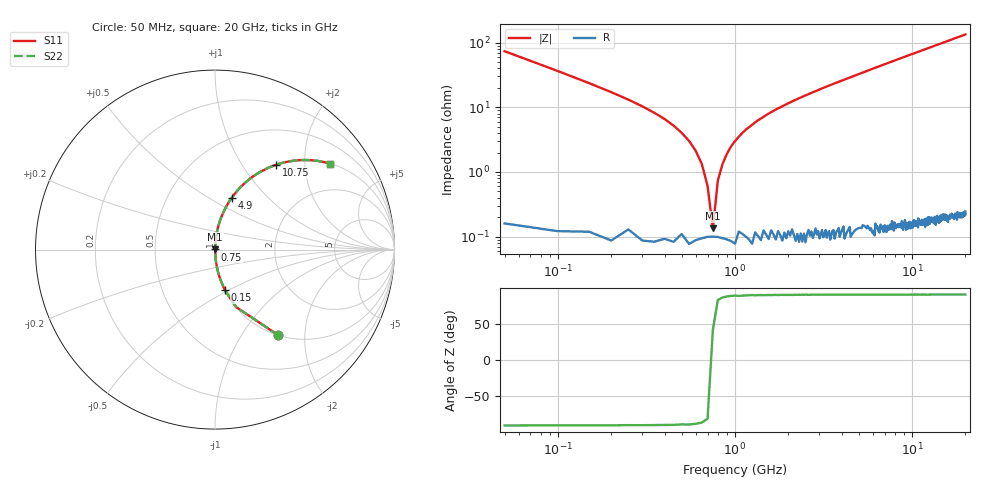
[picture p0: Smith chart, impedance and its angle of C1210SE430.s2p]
! AVX Thin Film Operation		Date: April 2012
! Description: Accu-P® Series, Thin Film, SMD, RF Capacitor
! Part Number: 12101J430FBTTR
!	50	MHz	-	20.05	GHz
!	Serial	Measurements
#	MHZ	S	MA	R	50
!	S11	S21	S12	S22
!	dB	Phase	dB	Phase	dB	Phase	dB	Phase
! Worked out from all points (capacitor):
!   400 points, 50 MHz to 20 GHz, reference 50 ohm
!   read as one part in series: C = 43 pF near 150 MHz
!   lowest |Z| = 134 mohm at 750 MHz (marker M1)
!   series resonance near 743.5 MHz, so ESL is about 1.1 nH
!   S11 on the Smith chart (normalised r, x): 50 MHz: 1.00, -1.47; 150 MHz: 1.00, -0.47; 750 MHz: 1.00, +0.00; 4.9 GHz: 1.00, +0.64; 10.75 GHz: 1.00, +1.43; 20 GHz: 1.01, +2.67
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50  0.593 -53.5  0.804 36.3  0.804 36.3  0.593 -53.5
100  0.341 -69.8  0.939 19.9  0.939 19.9  0.341 -69.8
150  0.23 -76.4  0.972 13.3  0.972 13.3  0.23 -76.4
300  0.103 -83.5  0.994 5.9  0.994 5.9  0.103 -83.5
600  0.021 -86.1  0.999 1.2  0.999 1.2  0.021 -86.1
650  0.013 -85.0  0.999 0.8  0.999 0.8  0.013 -85.0
700  0.006064 -80.2  0.999 0.3  0.999 0.3  0.006064 -80.2
750  0.001337 41.5  0.999 -0.1  0.999 -0.1  0.001337 41.5
800  0.007382 81.8  0.999 -0.4  0.999 -0.4  0.007382 81.8
850  0.013 85.0  0.999 -0.8  0.999 -0.8  0.013 85.0
950  0.025 86.3  0.999 -1.4  0.999 -1.4  0.025 86.3
1150  0.045 86.1  0.998 -2.6  0.998 -2.6  0.045 86.1
1500  0.076 84.9  0.996 -4.3  0.996 -4.3  0.076 84.9
2000  0.115 82.9  0.992 -6.6  0.992 -6.6  0.115 82.9
3400  0.212 77.5  0.976 -12.2  0.976 -12.2  0.212 77.5
4900  0.305 72.0  0.951 -17.8  0.951 -17.8  0.305 72.0
6700  0.405 65.9  0.913 -23.9  0.913 -23.9  0.405 65.9
10050  0.556 56.1  0.83 -33.8  0.83 -33.8  0.556 56.1
10750  0.582 54.3  0.812 -35.6  0.812 -35.6  0.582 54.3
13350  0.665 48.2  0.746 -41.7  0.746 -41.7  0.665 48.2
16700  0.744 41.8  0.667 -48.1  0.667 -48.1  0.744 41.8
20000  0.8 36.7  0.598 -53.2  0.598 -53.2  0.8 36.7
